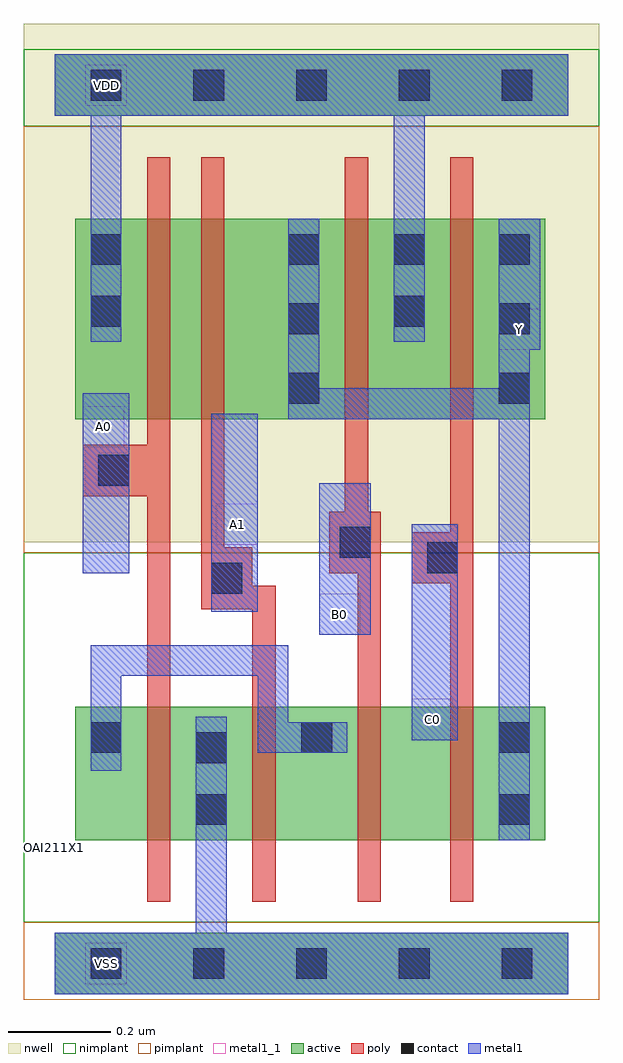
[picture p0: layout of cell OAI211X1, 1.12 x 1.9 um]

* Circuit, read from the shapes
.subckt OAI211X1 A0 A1 B0 C0 VDD VSS Y
M1 VSS A0 n1 VSS nfet w=0.26u l=0.045u
M2 n1 A1 VSS VSS nfet w=0.26u l=0.045u
M3 n2 B0 n1 VSS nfet w=0.26u l=0.045u
M4 Y C0 n2 VSS nfet w=0.26u l=0.045u
M5 n3 A0 VDD VDD pfet w=0.39u l=0.045u
M6 Y A1 n3 VDD pfet w=0.39u l=0.045u
M7 VDD B0 Y VDD pfet w=0.39u l=0.045u
M8 Y C0 VDD VDD pfet w=0.39u l=0.045u
.ends

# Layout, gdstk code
import gdstk
lib = gdstk.Library(unit=1e-6, precision=5e-10)
def R(c, l, rs):  # rectangles x0, y0, x1, y1
    for r in rs: c.add(gdstk.rectangle(r[:2], r[2:], *l))
def A(c, l, x, y, w, h, nx, ny, dx, dy):  # array of equal rectangles
    R(c, l, [(x+i*dx, y+j*dy, x+i*dx+w, y+j*dy+h) for i in range(nx) for j in range(ny)])
def P(c, l, *ps):  # polygons
    for p in ps: c.add(gdstk.Polygon(p, *l))
active = (1, 0)
nwell = (2, 0)
poly = (3, 0)
nimplant = (4, 0)
pimplant = (5, 0)
contact = (6, 0)
metal1 = (7, 0)
metal1_1 = (7, 1)

oai211x1 = lib.new_cell('OAI211X1')
R(oai211x1, active, [(0,-0.06,1,0.06), (0.04,0.24,0.955,0.5), (0.04,1.06,0.955,1.45), (0,1.65,1,1.77)])
R(oai211x1, nwell, [(-0.06,0.82,1.06,1.83)])
P(oai211x1, poly, [(0.815,1.57),(0.77,1.57),(0.77,0.84),(0.695,0.84),(0.695,0.74),(0.77,0.74),(0.77,0.12),(0.815,0.12)],
  [(0.43,0.735),(0.385,0.735),(0.385,0.81),(0.33,0.81),(0.33,1.57),(0.285,1.57),(0.285,0.69),(0.385,0.69),(0.385,0.12),(0.43,0.12)],
  [(0.225,1.57),(0.18,1.57),(0.18,1.01),(0.055,1.01),(0.055,0.91),(0.18,0.91),(0.18,0.12),(0.225,0.12)],
  [(0.635,0.88),(0.61,0.88),(0.61,1.57),(0.565,1.57),(0.565,0.88),(0.535,0.88),(0.535,0.76),(0.59,0.76),(0.59,0.12),(0.635,0.12)])
R(oai211x1, nimplant, [(-0.06,0.08,1.06,0.8), (-0.06,1.63,1.06,1.78)])
R(oai211x1, pimplant, [(-0.06,-0.07,1.06,0.08), (-0.06,0.8,1.06,1.63)])
A(oai211x1, contact, 0.07, -0.03, 0.06, 0.06, 5, 2, 0.2, 1.71)
A(oai211x1, contact, 0.455, 1.36, 0.06, 0.06, 3, 1, 0.205, 0)
R(oai211x1, contact, [(0.275,0.27,0.335,0.33), (0.865,0.27,0.925,0.33), (0.275,0.39,0.335,0.45), (0.07,0.41,0.13,0.47), (0.48,0.41,0.54,0.47), (0.865,0.41,0.925,0.47), (0.305,0.72,0.365,0.78), (0.725,0.76,0.785,0.82), (0.555,0.79,0.615,0.85), (0.085,0.93,0.145,0.99), (0.455,1.09,0.515,1.15), (0.865,1.09,0.925,1.15), (0.455,1.225,0.515,1.285), (0.865,1.225,0.925,1.285), (0.07,1.24,0.13,1.3), (0.66,1.24,0.72,1.3), (0.07,1.36,0.13,1.42)])
R(oai211x1, metal1, [(0.695,0.435,0.785,0.855), (0.515,0.64,0.615,0.935), (0.305,0.685,0.395,1.07), (0.055,0.76,0.145,1.11)])
P(oai211x1, metal1, [(1,1.77),(0,1.77),(0,1.65),(0.07,1.65),(0.07,1.21),(0.13,1.21),(0.13,1.65),(0.66,1.65),(0.66,1.21),(0.72,1.21),(0.72,1.65),(1,1.65)],
  [(1,0.06),(0.335,0.06),(0.335,0.48),(0.275,0.48),(0.275,0.06),(0,0.06),(0,-0.06),(1,-0.06)],
  [(0.945,1.45),(0.865,1.45),(0.865,1.12),(0.515,1.12),(0.515,1.45),(0.455,1.45),(0.455,1.06),(0.865,1.06),(0.865,0.24),(0.925,0.24),(0.925,1.195),(0.945,1.195)],
  [(0.57,0.47),(0.455,0.47),(0.455,0.62),(0.07,0.62),(0.07,0.375),(0.13,0.375),(0.13,0.56),(0.395,0.56),(0.395,0.41),(0.57,0.41)])
R(oai211x1, metal1_1, [(0.06,-0.04,0.14,0.04), (0.695,0.435,0.775,0.515), (0.515,0.64,0.595,0.72), (0.315,0.815,0.395,0.895), (0.055,1.005,0.135,1.085), (0.865,1.195,0.945,1.275), (0.06,1.67,0.14,1.75)])
oai211x1.add(gdstk.Label('VSS', (0.1,0), layer=7, texttype=1))
oai211x1.add(gdstk.Label('Y', (0.905,1.235), layer=7, texttype=1))
oai211x1.add(gdstk.Label('A0', (0.095,1.045), layer=7, texttype=1))
oai211x1.add(gdstk.Label('A1', (0.355,0.855), layer=7, texttype=1))
oai211x1.add(gdstk.Label('C0', (0.735,0.475), layer=7, texttype=1))
oai211x1.add(gdstk.Label('VDD', (0.1,1.71), layer=7, texttype=1))
oai211x1.add(gdstk.Label('B0', (0.555,0.68), layer=7, texttype=1))
oai211x1.add(gdstk.Label('OAI211X1', (0,0.225), layer=63, texttype=0))

lib.write_gds('OAI211X1.gds')
